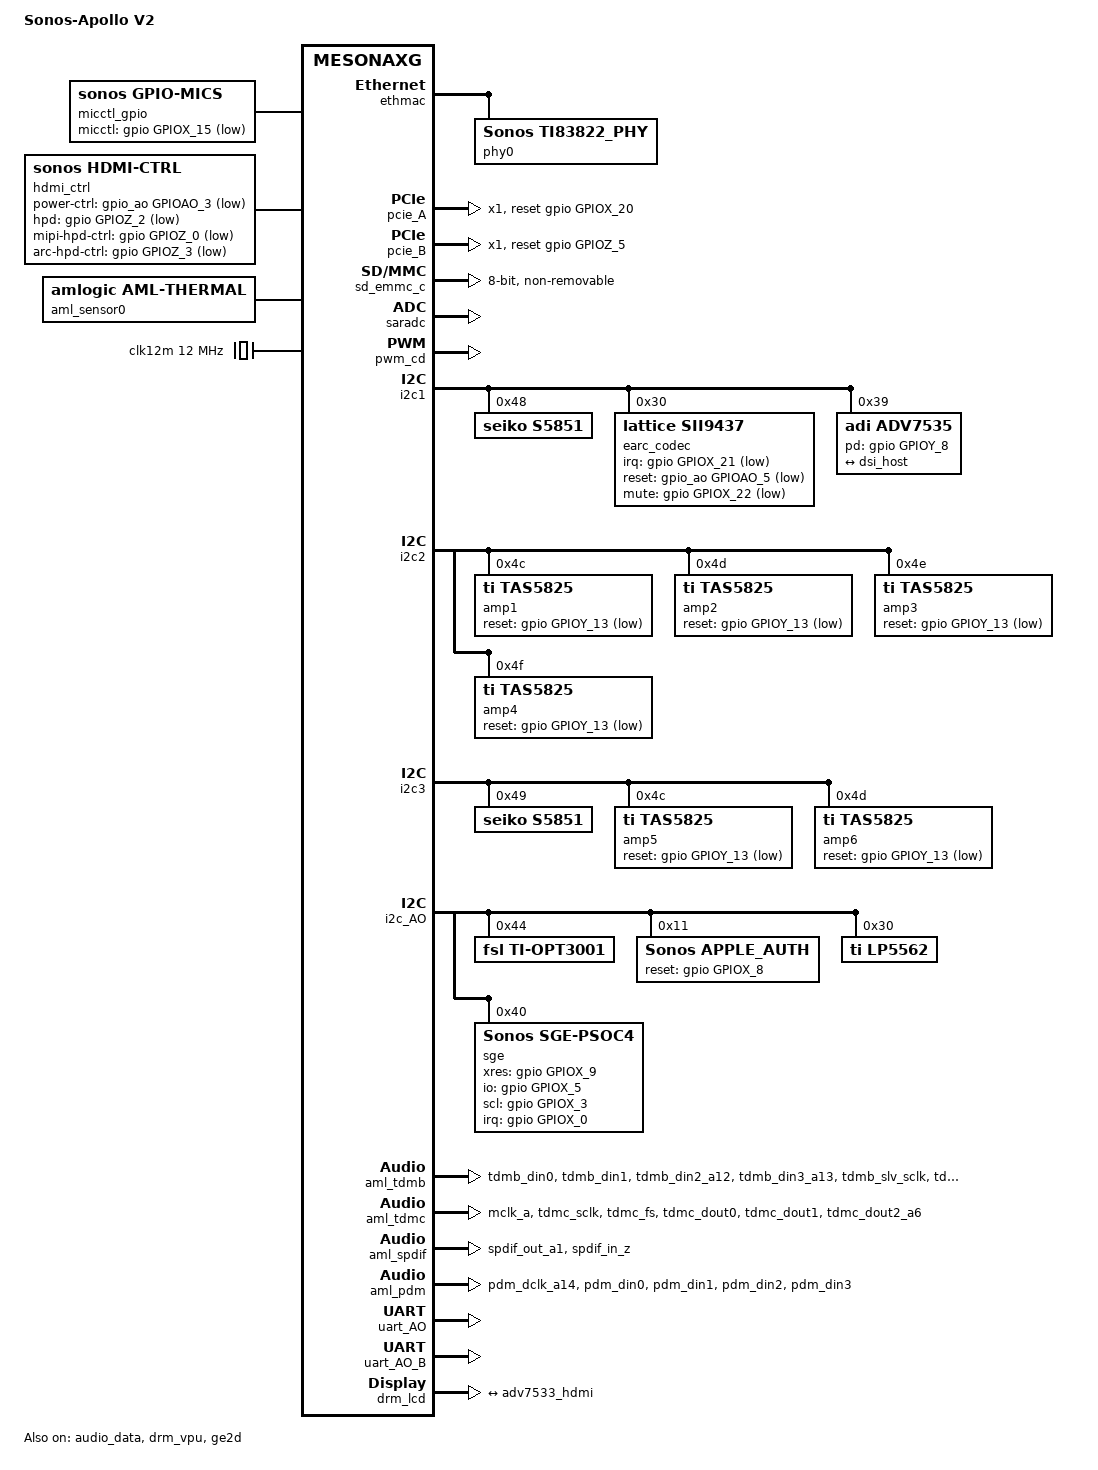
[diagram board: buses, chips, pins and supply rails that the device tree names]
/*
 * Copyright (c) 2018-2022, Sonos, Inc.
 *
 * SPDX-License-Identifier:     GPL-2.0
 */
/* Apollo HW versions
 *      V0 - apollo_v0.dts    - Apollo P0 P0.1 build
 *      V1 - apollo.dts       - Apollo P1 build
 *      V2 - apollo.dts       - Apollo P1b and P1c builds
 */
/dts-v1/;

#include "a113.dtsi"
#include "sonos_platform.dtsi"
#include "mesonaxg_ad7535-panel.dtsi"
#include "mesonaxg_drm.dtsi"

/ {
	model = "Sonos-Apollo V2";
	amlogic-dt-id = "axg_a113d_skt_v1";
	compatible = "amlogic, axg";
	interrupt-parent = <&gic>;
	#address-cells = <2>;
	#size-cells = <2>;

	sonos-product-id = <0x0f>;

	sonos-platform {
		/* Sonos platform specific values for shared driver source & binaries */
		sonos-ampctl { /* Apollo has one amp fault.  It has three control lines.  */
			status = "okay";
			hw-inits-index = <1>;
			hw-exits-index = <1>;
			using-i2c-amp;
			ignore-startup-faults;
			allow-auto-recovery;

			sonos-ampfaults {
				num-faults = <0x01>;
				status = "okay";

				ampfault@0 {
					fault-gpio = <&gpio GPIOY_12 GPIO_ACTIVE_LOW>;
					fault-flags = <IRQ_TYPE_EDGE_FALLING>;
					fault-label = "Amp fault";
				} ;
			} ;

		} ;

		misc-gpio {
			connect-button  = <&gpio GPIOX_2 GPIO_ACTIVE_LOW>;
		};

		simulated-buttons {
		/* event-sources are offsets from EVTSOURCE_BUTTON_PLAYPAUSE, some generate an event for more than one source */
			join {
				event-sources = <3>;
				};
		};

		thermal-mgmt {
			AMP {
				compatible = "seiko,s5851";
				fault-temperature = <105>;
				warn-temperature = <102>;
			};
			CPU {
				compatible = "seiko,s5851";
				fault-temperature = <90>;
				warn-temperature = <87>;
			};
		};
	} ;

	micctl_gpio:sonos-gpio-micctl {
		compatible = "sonos,gpio-mics";
		micctl-gpio = <&gpio GPIOX_15 GPIO_ACTIVE_LOW>;
	};

	micctl@1 {
		compatible = "sonos,micctl";
		micctl-device = <&micctl_gpio>;
	};

	sonos-lla {
		compatible = "sonos,alsa-lla";
		tx_mask = <0xdff>; // SWPBL-113873 buffer 9 is skipped
		rx_mask = <0x1d>;
		status = "okay";
	};

	ir_rcvr {
		compatible = "sonos,ir-rcvr";
		status = "okay";
	};

	hrtimer-a113 {
		compatible = "sonos,hrtimer-a113";
		status = "okay";
	};

	aliases {
		serial0 = &uart_AO;
		serial1 = &uart_AO_B;
		serial2 = &uart_B;
		serial3 = &uart_A;
		ethernet0 = &ethmac;
	};

	hdmi_ctrl {
		compatible = "sonos,hdmi-ctrl";
		power-ctrl-gpio = <&gpio_ao GPIOAO_3 GPIO_ACTIVE_LOW>;
		hpd-gpio = <&gpio GPIOZ_2 GPIO_ACTIVE_LOW>;
		mipi-hpd-ctrl-gpio = <&gpio GPIOZ_0 GPIO_ACTIVE_LOW>;
		arc-hpd-ctrl-gpio = <&gpio GPIOZ_3 GPIO_ACTIVE_LOW>;
		songle-adc-device = <0>;
		songle-adc-channel = <1>;
		/* Songle = 300mvolts */
		/* FIXME APOLLO - scale needs vetting */
		songle-adc-high = <187>;	/* 350mvolts x 1.875scale */
		songle-adc-low = <133>;		/* 250mvolts x 1.875scale */
		status = "okay";
	};

	memory@00000000 {
		device_type = "memory";
		linux,usable-memory = <0x0 0x100000 0x0 0x3ff00000>;
	};

	reserved-memory {
		#address-cells = <2>;
		#size-cells = <2>;
		ranges;
		/* global autoconfigured region for contiguous allocations */
		ramoops@0x07400000 {
			compatible = "ramoops";
			reg = <0x0 0x07400000 0x0 0x00100000>;
			record-size = <0x8000>;
			console-size = <0x10000>;
			ftrace-size = <0x2000>;
			pmsg-size = <0x4000>;
		};
		secmon_reserved:linux,secmon {
			compatible = "shared-dma-pool";
			reusable;
			size = <0x0 0x400000>;
			alignment = <0x0 0x400000>;
			alloc-ranges = <0x0 0x05000000 0x0 0x400000>;
		};
		secos_reserved:linux,secos {
			status = "disable";
			compatible = "amlogic, aml_secos_memory";
			reg = <0x0 0x05300000 0x0 0x2000000>;
			no-map;
		};
		ion_cma_reserved:linux,ion-dev {
			compatible = "shared-dma-pool";
			reusable;
			size = <0x0 0x8000000>;
			alignment = <0x0 0x400000>;
			alloc-ranges = <0x0 0x33c00000 0x0 0x8000000>;
		};
	};

	ethmac: ethernet@0xff3f0000 {
			compatible = "amlogic, gxbb-eth-dwmac";
			status = "okay";
			reg = <0x0 0xff3f0000 0x0 0x10000
			0x0 0xff634540 0x0 0x8>;
			interrupts = <0 8 1>;
			pinctrl-names = "external_eth_pins";
			pinctrl-0 = <&external_eth_pins>;
			mc_val_internal_phy = <0x1800>;
			mc_val_external_phy = <0x1404>;
			interrupt-names = "macirq";
			clocks = <&clkc CLKID_ETH_CORE>;
			clock-names = "ethclk81";
			internal_phy=<0>;

			phy0 {
				compatible = "Sonos,ti83822_phy";
				interrupts = <&gpio GPIOY_14 GPIO_ACTIVE_HIGH>;
			};

	};

	aml_sensor0: aml-sensor@0 {
		compatible = "amlogic, aml-thermal";
		device_name = "thermal";
		#thermal-sensor-cells = <1>;
		cooling_devices {
			cpufreq_cool_cluster0 {
				min_state = <1000000>;
				dyn_coeff = <140>;
				cluster_id = <0>;
				node_name = "cpufreq_cool0";
				device_type = "cpufreq";
			};
			cpucore_cool_cluster0 {
				min_state = <1>;
				dyn_coeff = <0>;
				cluster_id = <0>;
				node_name = "cpucore_cool0";
				device_type = "cpucore";
			};
		};
		cpufreq_cool0:cpufreq_cool0 {
			#cooling-cells = <2>; /* min followed by max */
		};
		cpucore_cool0:cpucore_cool0 {
			#cooling-cells = <2>; /* min followed by max */
		};
	};

	thermal-zones {
		soc_thermal {
			polling-delay = <1000>;
			polling-delay-passive = <100>;
			sustainable-power = <1050>;

			thermal-sensors = <&aml_sensor0 3>;

			trips {
				switch_on: trip-point@0 {
					temperature = <70000>;
					hysteresis = <1000>;
					type = "passive";
				};
				control: trip-point@1 {
					temperature = <80000>;
					hysteresis = <1000>;
					type = "passive";
				};
				hot: trip-point@2 {
					temperature = <105000>;
					hysteresis = <5000>;
					type = "hot";
				};
				critical: trip-point@3 {
					temperature = <260000>;
					hysteresis = <1000>;
					type = "critical";
				};
			};

			cooling-maps {
				cpufreq_cooling_map {
					trip = <&control>;
					cooling-device = <&cpufreq_cool0 0 4>;
					contribution = <1024>;
				};
				cpucore_cooling_map {
					trip = <&control>;
					cooling-device = <&cpucore_cool0 0 3>;
					contribution = <1024>;
				};
			};
		};
	};

	usb2_phy: usb2phy@ffe09000 {
		compatible = "amlogic, amlogic-new-usb2";
		status = "disabled";
		portnum = <4>;
		reg = <0x0 0xffe09000 0x0 0x80>;
	};
	usb3_phy: usb3phy@ffe09080 {
		compatible = "amlogic, amlogic-new-usb3";
		status = "disabled";
		portnum = <0>;
		reg = <0x0 0xffe09080 0x0 0x20>;
		interrupts = <0 16 4>;
		otg = <1>;
		gpio-vbus-power = "GPIOAO_5";
		gpios = <&gpio_ao GPIOAO_5 GPIO_ACTIVE_HIGH>;
	};

	dwc2_a {
		compatible = "amlogic, dwc2";
		device_name = "dwc2_a";
		reg = <0x0 0xff400000 0x0 0x40000>;
		status = "disabled";
		interrupts = <0 31 4>;
		pl-periph-id = <0>; /** lm name */
		clock-src = "usb0"; /** clock src */
		port-id = <0>;  /** ref to mach/usb.h */
		port-type = <2>;        /** 0: otg, 1: host, 2: slave */
		port-speed = <0>; /** 0: default, high, 1: full */
		port-config = <0>; /** 0: default */
		/*0:default,1:single,2:incr,3:incr4,4:incr8,5:incr16,6:disable*/
		port-dma = <0>;
		port-id-mode = <0>; /** 0: hardware, 1: sw_host, 2: sw_slave*/
		usb-fifo = <728>;
		cpu-type = "gxl";
		/** 0: normal, 1: otg+dwc3 host only, 2: otg+dwc3 device only*/
		controller-type = <3>;
		phy-reg = <0xffe09000>;
		phy-reg-size = <0xa0>;
		clocks = <&clkc CLKID_USB_GENERAL
			&clkc CLKID_USB1_TO_DDR
			&clkc CLKID_USB1>;
		clock-names = "usb_general",
			"usb1",
			"usb1_to_ddr";
	};

	pcie_A: pcieA@f9800000 {
		compatible = "amlogic, amlogic-pcie", "snps,dw-pcie";
		reg = <0x0 0xf9800000 0x0 0x400000
				0x0 0xff646000 0x0 0x2000
				0x0 0xf9f00000 0x0 0x100000
				0x0 PCIE_PHY_REG 0x0 PCIE_PHY_SIZE
				0x0 PCIE_RESET_REG 0x0 PCIE_RESET_SIZE>;
		reg-names = "elbi", "cfg", "config", "phy", "reset";
		reset-gpio = <&gpio GPIOX_20 GPIO_ACTIVE_HIGH>;
		interrupts = <0 177 0>, <0 179 0>;
		#interrupt-cells = <1>;
		bus-range = <0x0 0xff>;
		#address-cells = <3>;
		#size-cells = <2>;
		device_type = "pci";
		ranges = <0x82000000 0 0 0x0 0xf9c00000 0 0x00300000>;
			/* non-prefetchable memory */
		num-lanes = <1>;
		pcie-num = <1>;
		speed-mod = <1>; /* gen1 */

		clocks = <&clkc CLKID_USB_GENERAL
				&clkc CLKID_PCIE_PLL
				&clkc CLKID_MIPI_ENABLE_GATE
				&clkc CLKID_MIPI_BANDGAP_GATE
				&clkc CLKID_PCIE_A
				&clkc CLKID_PCIE_CML_EN0>;
		clock-names = "pcie_general",
				"pcie_refpll",
				"pcie_mipi_enable_gate",
				"pcie_mipi_bandgap_gate",
				"pcie",
				"port";
		/*reset-gpio-type 0:Shared pad(no reset)1:OD pad2:Normal pad*/
		gpio-type = <2>;
		status = "okay";
	};

	pcie_B: pcieB@fa000000 {
		compatible = "amlogic, amlogic-pcie", "snps,dw-pcie";
		reg = <0x0 0xfa000000 0x0 0x400000
				0x0 0xff648000 0x0 0x2000
				0x0 0xfa400000 0x0 0x100000
				0x0 PCIE_PHY_REG 0x0 PCIE_PHY_SIZE
				0x0 PCIE_RESET_REG 0x0 PCIE_RESET_SIZE>;
		reg-names = "elbi", "cfg", "config", "phy", "reset";
		reset-gpio = <&gpio GPIOZ_5 GPIO_ACTIVE_HIGH>;
		interrupts = <0 167 0>, <0 169 0>;
		#interrupt-cells = <1>;
		bus-range = <0x0 0xff>;
		#address-cells = <3>;
		#size-cells = <2>;
		device_type = "pci";
		ranges = <0x81000000 0 0 0 0xfa500000 0x0 0x10000
			/* downstream I/O */
			0x82000000 0 0xfa510000 0x0 0xfa510000 0 0x002f0000>;
			/* non-prefetchable memory */
		num-lanes = <1>;
		pcie-num = <2>;
		speed-mod = <1>; /* gen1 */

		clocks = <&clkc CLKID_USB_GENERAL
			&clkc CLKID_PCIE_PLL
			&clkc CLKID_MIPI_ENABLE_GATE
			&clkc CLKID_MIPI_BANDGAP_GATE
			&clkc CLKID_PCIE_B
			&clkc CLKID_PCIE_CML_EN1>;
		clock-names = "pcie_general",
			"pcie_refpll",
			"pcie_mipi_enable_gate",
			"pcie_mipi_bandgap_gate",
			"pcie",
			"port";
		/*reset-gpio-type 0:Shared pad(no reset)1:OD pad2:Normal pad*/
		gpio-type = <2>;
		status = "okay";
	};

	uart_A: serial@ffd24000 {
		compatible = "amlogic, meson-uart";
		reg = <0x0 0xffd24000 0x0 0x18>;
		interrupts = <0 26 1>;
		status = "disable";
		clocks = <&xtal
			&clkc CLKID_UART0>;
		clock-names = "clk_uart",
			"clk_gate";
		fifosize = < 128 >;
		pinctrl-names = "default";
		pinctrl-0 = <&a_uart_pins>;
	};

	uart_B: serial@ffd23000 {
		compatible = "amlogic, meson-uart";
		reg = <0x0 0xffd23000 0x0 0x18>;
		interrupts = <0 75 1>;
		status = "disable";
		clocks = <&xtal
			&clkc CLKID_UART1>;
		clock-names = "clk_uart",
			"clk_gate";
		fifosize = < 64 >;
		pinctrl-names = "default";
		pinctrl-0 = <&b_uart_pins>;
	};

	vpu {
		compatible = "amlogic, vpu-axg";
		dev_name = "vpu";
		status = "okay";
		clocks = <&clkc CLKID_VAPB_MUX>,
			<&clkc CLKID_VPU_INTR>,
			<&clkc CLKID_VPU_P0_COMP>,
			<&clkc CLKID_VPU_P1_COMP>,
			<&clkc CLKID_VPU_MUX>;
		clock-names = "vapb_clk",
			"vpu_intr_gate",
			"vpu_clk0",
			"vpu_clk1",
			"vpu_clk";
		clk_level = <3>;
		/* 0: 100.0M    1: 166.7M    2: 200.0M    3: 250.0M */
	};

	vout {
		compatible = "amlogic, vout";
		dev_name = "vout";
		status = "okay";
	};

	/* Audio Related start */
	/* Sound iomap */

	aml_snd_iomap {
		compatible = "amlogic, snd-iomap";
		status = "okay";
		#address-cells=<2>;
		#size-cells=<2>;
		ranges;
		pdm_bus {
			reg = <0x0 0xFF632000 0x0 0x2000>;
		};
		audiobus_base {
			reg = <0x0 0xFF642000 0x0 0x2000>;
		};
		audiolocker_base {
			reg = <0x0 0xFF64A000 0x0 0x2000>;
		};
	};
	pdm_codec:dummy{
		#sound-dai-cells = <0>;
		compatible = "amlogic, pdm_dummy_codec";
		status = "okay";
	};
	spdif_rx_codec:dummy{
		#sound-dai-cells = <0>;
		compatible = "linux,spdif-dir";
		status = "okay";
	};
	sonos_dummy_codec_dac: dac_dummy_codec {
		#sound-dai-cells = <0>;
		compatible = "Sonos,dummy-codec";
		stream-name = "0-dac";
		rate = <44100>; /* We use 44.1 KHz as the audio output rate */
		format = "S32_LE"; /* We use signed 24-bit little endian samples in a 32-bit word */
		channels = <12>; /* Number of playback channels on Apollo is 12 */
		status = "okay";
	};
	sonos_dummy_codec_pdm: pdm_dummy_codec {
		#sound-dai-cells = <0>;
		compatible = "Sonos,dummy-codec";
		stream-name = "1-mic";
		rate = <16000>; /* We use 16 KHz as the audio input rate. May be changed after consulting SMAV team */
		format = "S32_LE"; /* We use signed 24-bit little endian samples in 32-bit words */
		channels = <8>; /* Number of capture channels on Apollo is 8 */
		capture; /* Set the stream direction to capture. Note: Default without this boolean flag is playback */
		status = "okay";
	};

	auge_sound {
		compatible = "amlogic, axg-sound-card";
		aml-audio-card,name = "AML-AUGESOUND";
		aml-audio-card,dai-link@1 {
			format = "i2s";
			mclk-fs = <256>;
			continuous-clock;
			bitclock-master = <&tdmb_codec>;
			frame-master = <&tdmb_codec>;
			cpu {
				sound-dai = <&aml_tdmb>;
				dai-tdm-slot-rx-mask = <1 1>;
				dai-tdm-slot-num = <2>;
				dai-tdm-slot-width = <32>;
			};
			tdmb_codec: codec {
				prefix-names = "Sonos I2S in";
				sound-dai = <&earc_codec>;
			};
		};
		aml-audio-card,dai-link@2 {
			format = "dsp_b";
			mclk-fs = <256>;
			continuous-clock;
			bitclock-inversion;
			bitclock-master = <&aml_tdmc>;
			frame-master = <&aml_tdmc>;
			cpu {
				sound-dai = <&aml_tdmc>;
				dai-tdm-slot-tx-mask = <1 1 1 1>;
				dai-tdm-slot-num = <4>;
				dai-tdm-slot-width = <32>;
			};
			codec {
				prefix-names = "Sonos TDM out";
				sound-dai = <&sonos_dummy_codec_dac>;
			};
		};

		aml-audio-card,dai-link@3 {
			mclk-fs = <256>;
			cpu {
				sound-dai = <&aml_pdm>;
			};
			codec {
				prefix-names = "Sonos PDM in";
				sound-dai = <&sonos_dummy_codec_pdm>;
			};
		};

		aml-audio-card,dai-link@4 {
			mclk-fs = <128>;
			cpu {
				sound-dai = <&aml_spdif>;
				system-clock-frequency = <6144000>;
			};
			codec {
				sound-dai = <&spdif_rx_codec>;
			};
		};

		aml-audio-card,dai-link@5 {
			mclk-fs = <128>;
			cpu {
				sound-dai = <&aml_spdif>;
				system-clock-frequency = <6144000>;
			};
			codec {
				/* Select ADV7535 SPDIF port */
				sound-dai = <&adv7535 1>;
			};
		};
	};
	sd_emmc_c: emmc@ffe07000 {
		status = "okay";
		compatible = "amlogic, meson-mmc-axg";
		reg = <0x0 0xffe07000 0x0 0x2000>;
		interrupts = <0 218 1>;
		pinctrl-names = "emmc_clk_cmd_pins", "emmc_all_pins";
		pinctrl-0 = <&emmc_clk_cmd_pins>;
		pinctrl-1 = <&emmc_conf_pull_up &emmc_conf_pull_done>;
		clocks = <&clkc CLKID_SD_EMMC_C>,
			   <&clkc CLKID_SD_EMMC_C_P0_COMP>,
			   <&clkc CLKID_FCLK_DIV2>,
			   <&clkc CLKID_FCLK_DIV5>,
			   <&xtal>;
		clock-names = "core", "clkin0", "clkin1", "clkin2", "xtal";

		bus-width = <8>;
		cap-sd-highspeed;
		cap-mmc-highspeed;
		mmc-ddr-1_8v;
		mmc-hs200-1_8v;

		max-frequency = <200000000>;
		non-removable;
		disable-wp;
		emmc {
			status = "disable";
			pinname = "emmc";
			ocr_avail = <0x200080>; /**VDD voltage 3.3 ~ 3.4 */
			caps = "MMC_CAP_8_BIT_DATA",
				 "MMC_CAP_MMC_HIGHSPEED",
				 "MMC_CAP_SD_HIGHSPEED",
				 "MMC_CAP_NONREMOVABLE",
				 "MMC_CAP_1_8V_DDR",
				 "MMC_CAP_HW_RESET",
				 "MMC_CAP_ERASE",
				 "MMC_CAP_CMD23";
			f_min = <400000>;
			f_max = <200000000>;
			max_req_size = <0x20000>; /**128KB*/
			gpio_dat3 = <&gpio BOOT_3 GPIO_ACTIVE_HIGH>;
			tx_delay = <8>;
			hw_reset = <&gpio BOOT_9 GPIO_ACTIVE_HIGH>;
			card_type = <1>;
			/* 1:mmc card(include eMMC),
			 * 2:sd card(include tSD)
			 */
		};
	};

	ion_dev {
		compatible = "amlogic, ion_dev";
		memory-region = <&ion_cma_reserved>;
	};/*V end of ion_dev*/

	ionvideo {	/* Video capture device */
		compatible = "amlogic, ionvideo";
		dev_name = "ionvideo";
		status = "disabled";
	};

	meson-fb {
		compatible = "amlogic, meson-axg";
		status = "disabled";	/* Mutually exclusive with DRM support */
	};

	ge2d {
		compatible = "amlogic, ge2d-axg";
		dev_name = "ge2d";
		status = "okay";
		interrupts = <0 150 1>;
		interrupt-names = "ge2d";
		clocks = <&clkc CLKID_VAPB_MUX>,
			<&clkc CLKID_G2D>,
			<&clkc CLKID_GE2D_GATE>;
		clock-names = "clk_vapb_0",
			"clk_ge2d",
			"clk_ge2d_gate";
		reg = <0x0 0xff940000 0x0 0x10000>;
	};

	saradc:saradc {
		compatible = "amlogic,meson-axg-saradc";
		status = "okay";
		#io-channel-cells = <1>;
		clocks = <&xtal>, <&clkc CLKID_SARADC_GATE>;
		clock-names = "xtal", "saradc_clk";
		interrupts = <GIC_SPI 73 IRQ_TYPE_EDGE_RISING>;
		reg = <0x0 0xff809000 0x0 0x38>;
	};

	pwm_cd: pwm@ffd1a000 {
		status = "okay";
	};

	sonos_pwm_led {
		pinctrl-names = "default";
		pinctrl-0 = <&led_pwm_pins>;
		pwms = <&pwm_cd MESON_PWM_0 40000 0>;
		duty-cycle = <15020>;
	};

	clk12m: oscillator@0 {
		/* pin GPIOAO_12/CLK12_24 */
		compatible = "fixed-clock";
		#clock-cells = <0>;
		clock-frequency = <12000000>;
		clock-output-names = "clk12m";
	};

}; /* end of / */

&i2c1 {
	status = "okay";
	pinctrl-names="default";
	pinctrl-0=<&b_i2c_master_pin1>;

	s5851@0 {       // CPU thermal sensor
		compatible = "seiko,s5851";
		reg = <0x48>;
		device_type = "CPU";
	};
	earc_codec: sii9437@30 {       // eARC Rx chip
		compatible = "lattice,sii9437";
		#sound-dai-cells = <0>;
		reg = <0x30>;
		irq-gpio = <&gpio GPIOX_21 GPIO_ACTIVE_LOW>;
		reset-gpio = <&gpio_ao GPIOAO_5 GPIO_ACTIVE_LOW>;
		mute-gpio = <&gpio GPIOX_22 GPIO_ACTIVE_LOW>;
		status = "okay";
	};
	adv7535: adv7535@39 {	// HDMI-DSI bridge chip
		status = "okay";
		compatible = "adi,adv7535";
		reg = <0x39>;

		interrupt-parent = <&gpio_intc>;
		interrupts = <91 IRQ_TYPE_EDGE_FALLING>;	/* GPIOY_7 */

		clocks = <&clk12m>;
		clock-names = "cec";

		adi,dsi-lanes = <4>;

		pd-gpios = <&gpio GPIOY_8 GPIO_ACTIVE_HIGH>;

		/* ADV7535 has both an I2S (port 0) and SPDIF (port 1) input */
		#sound-dai-cells = <1>;

		ports {
			port {
				#address-cells = <1>;
				#size-cells = <0>;

				adv7533_hdmi: endpoint@0 {
					reg = <0>;
					remote-endpoint = <&dsi_host>;
				};
			};

		};
	};
};

&i2c2 {
	status = "okay";
	pinctrl-names="default";
	pinctrl-0=<&c_i2c_master>;

	amp1: tas5825@4c { // tweeter + woofer
		compatible = "ti,tas5825";
		reg = <0x4c>;
		dev-id = <0x1>;
		first-amp-devid = <1>;
		play-to-sleep-delay = <5>;
		post-reset-delay = <10>;
		sleep-to-play-delay = <5>;
		apollo-mode-shutdown;
		shared-reset;
		mask-clock-faults;
		reset-gpio = <&gpio GPIOY_13 GPIO_ACTIVE_LOW>;
		stage-delay = <5>;
		number-init-stages = <2>;
		init-sequence-length1 = <1>;
		reg-init1 = <0x6a 0x03>;
		init-sequence-length2 = <150>;
		reg-init2 = < 0x00 0x00 0x7f 0x00 0x03 0x00 0x03 0x02 0x03 0x00 0x03 0x02
			0x00 0x00 0x7f 0x00 0x60 0x01 0x61 0x0b
			0x00 0x00 0x7f 0x00 0x7d 0x11 0x7e 0xff 0x00 0x01 0x51 0x05 0x00 0x02 0x19 0xa0 0x1d 0x01
			0x00 0x00 0x7f 0x00 0x46 0x01 0x00 0x00 0x60 0x01 0x61 0x0b 0x7f 0x00 0x00 0x00 0x00 0x00 0x00 0x00
			0x00 0x00 0x7f 0x8c 0x00 0x06 0x38 0x00 0x39 0x00 0x3a 0x04 0x3b 0x00 0x00 0x0b 0x50 0x00 0x51 0x20 0x52 0xc4
			0x53 0x9c 0x5c 0x7f 0x5d 0xff 0x5e 0xff 0x5f 0xff
			0x00 0x00 0x7f 0x8c 0x00 0x01 0x28 0x40 0x29 0x00 0x2a 0x00 0x2b 0x00 0x00 0x0a 0x64 0x00 0x65 0x80 0x66 0x00
		       	0x67 0x00 0x68 0x00 0x69 0x00 0x6a 0x00 0x6b 0x00 0x6c 0x00 0x6d 0x00 0x6e 0x00 0x6f 0x00 0x70 0x00 0x71 0x80
		       	0x72 0x00 0x73 0x00 0x74 0x00 0x75 0x80 0x76 0x00 0x77 0x00 0x78 0x00 0x79 0x00 0x7a 0x00 0x7b 0x00 0x7c 0x00
		       	0x7d 0x00 0x7e 0x00 0x7f 0x00 0x00 0x0b 0x08 0x00 0x09 0x80 0x0a 0x00 0x0b 0x00 0x38 0x22 0x39 0x94 0x3a 0xDC
		       	0x3b 0xBB 0x3c 0x22 0x3d 0x94 0x3e 0xDC 0x3f 0xBB 0x48 0x05 0x49 0x91 0x4a 0x06 0x4b 0x12 0x4c 0x00 0x4d 0x03
		       	0x4e 0xB7 0x4f 0x17 0x54 0x7a 0x55 0x6E 0x56 0xF9 0x57 0xEE 0x58 0x00 0x59 0x00 0x5a 0x5F 0x5b 0x1C 0x60 0x08
		       	0x61 0x13 0x62 0x85 0x63 0x62 0x64 0x00 0x65 0x80 0x66 0x00 0x67 0x00 0x6c 0x00 0x6d 0x78 0x6e 0xd6 0x6f 0xfd
		       	0x70 0x00 0x71 0x08 0x72 0x13 0x73 0x85 0x00 0x00 0x7f 0x00 0x30 0x00 0x4c 0x30 0x02 0x02 0x03 0x0a 0x28 0x78
		       	0x33 0x17 0x34 0x00 0x50 0x00 0x53 0x00 0x54 0x04 0x5F 0x1E 0x3A 0xF8 0x6B 0x00 0x6C 0x00 0x75 0x38 0x77 0x00
		       	0x29 0x00
			0x00 0x00 0x7f 0x00 0x78 0x80 0x03 0x00 >;
		status = "okay";
	};
	amp2: tas5825@4d { // woofer
		compatible = "ti,tas5825";
		reg = <0x4d>;
		dev-id = <0x2>;
		first-amp-devid = <1>;
		play-to-sleep-delay = <5>;
		post-reset-delay = <10>;
		sleep-to-play-delay = <5>;
		apollo-mode-shutdown;
		shared-reset;
		mask-clock-faults;
		reset-gpio = <&gpio GPIOY_13 GPIO_ACTIVE_LOW>;
		stage-delay = <5>;
		number-init-stages = <2>;
		init-sequence-length1 = <1>;
		reg-init1 = <0x6a 0x07>;
		init-sequence-length2 = <150>;
		reg-init2 = < 0x00 0x00 0x7f 0x00 0x03 0x00 0x03 0x02 0x03 0x00 0x03 0x02
			0x00 0x00 0x7f 0x00 0x60 0x01 0x61 0x0b
			0x00 0x00 0x7f 0x00 0x7d 0x11 0x7e 0xff 0x00 0x01 0x51 0x05 0x00 0x02 0x19 0xa0 0x1d 0x01
			0x00 0x00 0x7f 0x00 0x46 0x01 0x00 0x00 0x60 0x01 0x61 0x0b 0x7f 0x00 0x00 0x00 0x00 0x00 0x00 0x00
			0x00 0x00 0x7f 0x8c 0x00 0x06 0x38 0x00 0x39 0x00 0x3a 0x04 0x3b 0x00 0x00 0x0b 0x50 0x00 0x51 0x20 0x52 0xc4
			0x53 0x9c 0x5c 0x7f 0x5d 0xff 0x5e 0xff 0x5f 0xff
			0x00 0x00 0x7f 0x8c 0x00 0x01 0x28 0x40 0x29 0x00 0x2a 0x00 0x2b 0x00 0x00 0x0a 0x64 0x00 0x65 0x80 0x66 0x00
		       	0x67 0x00 0x68 0x00 0x69 0x00 0x6a 0x00 0x6b 0x00 0x6c 0x00 0x6d 0x00 0x6e 0x00 0x6f 0x00 0x70 0x00 0x71 0x80
		       	0x72 0x00 0x73 0x00 0x74 0x00 0x75 0x80 0x76 0x00 0x77 0x00 0x78 0x00 0x79 0x00 0x7a 0x00 0x7b 0x00 0x7c 0x00
		       	0x7d 0x00 0x7e 0x00 0x7f 0x00 0x00 0x0b 0x08 0x00 0x09 0x80 0x0a 0x00 0x0b 0x00 0x38 0x22 0x39 0x94 0x3a 0xDC
		       	0x3b 0xBB 0x3c 0x22 0x3d 0x94 0x3e 0xDC 0x3f 0xBB 0x48 0x05 0x49 0x91 0x4a 0x06 0x4b 0x12 0x4c 0x00 0x4d 0x03
		       	0x4e 0xB7 0x4f 0x17 0x54 0x7a 0x55 0x6E 0x56 0xF9 0x57 0xEE 0x58 0x00 0x59 0x00 0x5a 0x5F 0x5b 0x1C 0x60 0x08
		       	0x61 0x13 0x62 0x85 0x63 0x62 0x64 0x00 0x65 0x80 0x66 0x00 0x67 0x00 0x6c 0x00 0x6d 0x78 0x6e 0xd6 0x6f 0xfd
		       	0x70 0x00 0x71 0x08 0x72 0x13 0x73 0x85 0x00 0x00 0x7f 0x00 0x30 0x00 0x4c 0x30 0x02 0x02 0x03 0x0a 0x28 0x78
		       	0x33 0x17 0x34 0x40 0x50 0x00 0x53 0x00 0x54 0x04 0x5F 0x1E 0x3A 0xF8 0x6B 0x00 0x6C 0x00 0x75 0x38 0x77 0x00
		       	0x29 0x00
			0x00 0x00 0x7f 0x00 0x78 0x80 0x03 0x00 >;
		status = "okay";
	};
	amp3: tas5825@4e {
		compatible = "ti,tas5825";
		reg = <0x4e>;
		dev-id = <0x3>;
		first-amp-devid = <1>;
		play-to-sleep-delay = <5>;
		post-reset-delay = <10>;
		sleep-to-play-delay = <5>;
		apollo-mode-shutdown;
		shared-reset;
		mask-clock-faults;
		reset-gpio = <&gpio GPIOY_13 GPIO_ACTIVE_LOW>;
		stage-delay = <5>;
		number-init-stages = <2>;
		init-sequence-length1 = <1>;
		reg-init1 = <0x6a 0x0b>;
		init-sequence-length2 = <150>;
		reg-init2 = < 0x00 0x00 0x7f 0x00 0x03 0x00 0x03 0x02 0x03 0x00 0x03 0x02
			0x00 0x00 0x7f 0x00 0x60 0x01 0x61 0x0b
			0x00 0x00 0x7f 0x00 0x7d 0x11 0x7e 0xff 0x00 0x01 0x51 0x05 0x00 0x02 0x19 0xa0 0x1d 0x01
			0x00 0x00 0x7f 0x00 0x46 0x01 0x00 0x00 0x60 0x01 0x61 0x0b 0x7f 0x00 0x00 0x00 0x00 0x00 0x00 0x00
			0x00 0x00 0x7f 0x8c 0x00 0x06 0x38 0x00 0x39 0x00 0x3a 0x04 0x3b 0x00 0x00 0x0b 0x50 0x00 0x51 0x20 0x52 0xc4
			0x53 0x9c 0x5c 0x7f 0x5d 0xff 0x5e 0xff 0x5f 0xff
			0x00 0x00 0x7f 0x8c 0x00 0x01 0x28 0x40 0x29 0x00 0x2a 0x00 0x2b 0x00 0x00 0x0a 0x64 0x00 0x65 0x80 0x66 0x00
		       	0x67 0x00 0x68 0x00 0x69 0x00 0x6a 0x00 0x6b 0x00 0x6c 0x00 0x6d 0x00 0x6e 0x00 0x6f 0x00 0x70 0x00 0x71 0x80
		       	0x72 0x00 0x73 0x00 0x74 0x00 0x75 0x80 0x76 0x00 0x77 0x00 0x78 0x00 0x79 0x00 0x7a 0x00 0x7b 0x00 0x7c 0x00
		       	0x7d 0x00 0x7e 0x00 0x7f 0x00 0x00 0x0b 0x08 0x00 0x09 0x80 0x0a 0x00 0x0b 0x00 0x38 0x22 0x39 0x94 0x3a 0xDC
		       	0x3b 0xBB 0x3c 0x22 0x3d 0x94 0x3e 0xDC 0x3f 0xBB 0x48 0x05 0x49 0x91 0x4a 0x06 0x4b 0x12 0x4c 0x00 0x4d 0x03
		       	0x4e 0xB7 0x4f 0x17 0x54 0x7a 0x55 0x6E 0x56 0xF9 0x57 0xEE 0x58 0x00 0x59 0x00 0x5a 0x5F 0x5b 0x1C 0x60 0x08
		       	0x61 0x13 0x62 0x85 0x63 0x62 0x64 0x00 0x65 0x80 0x66 0x00 0x67 0x00 0x6c 0x00 0x6d 0x78 0x6e 0xd6 0x6f 0xfd
		       	0x70 0x00 0x71 0x08 0x72 0x13 0x73 0x85 0x00 0x00 0x7f 0x00 0x30 0x00 0x4c 0x30 0x02 0x02 0x03 0x0a 0x28 0x78
		       	0x33 0x17 0x34 0x00 0x50 0x00 0x53 0x00 0x54 0x04 0x5F 0x1E 0x3A 0xF8 0x6B 0x00 0x6C 0x00 0x75 0x38 0x77 0x00
		       	0x29 0x00
			0x00 0x00 0x7f 0x00 0x78 0x80 0x03 0x00 >;
		status = "okay";
	};
	amp4: tas5825@4f {
		compatible = "ti,tas5825";
		reg = <0x4f>;
		dev-id = <0x4>;
		first-amp-devid = <1>;
		play-to-sleep-delay = <5>;
		post-reset-delay = <10>;
		sleep-to-play-delay = <5>;
		apollo-mode-shutdown;
		shared-reset;
		mask-clock-faults;
		reset-gpio = <&gpio GPIOY_13 GPIO_ACTIVE_LOW>;
		stage-delay = <5>;
		number-init-stages = <2>;
		init-sequence-length1 = <1>;
		reg-init1 = <0x6a 0x0f>;
		init-sequence-length2 = <150>;
		reg-init2 = < 0x00 0x00 0x7f 0x00 0x03 0x00 0x03 0x02 0x03 0x00 0x03 0x02
			0x00 0x00 0x7f 0x00 0x60 0x01 0x61 0x0b
			0x00 0x00 0x7f 0x00 0x7d 0x11 0x7e 0xff 0x00 0x01 0x51 0x05 0x00 0x02 0x19 0xa0 0x1d 0x01
			0x00 0x00 0x7f 0x00 0x46 0x01 0x00 0x00 0x60 0x01 0x61 0x0b 0x7f 0x00 0x00 0x00 0x00 0x00 0x00 0x00
			0x00 0x00 0x7f 0x8c 0x00 0x06 0x38 0x00 0x39 0x00 0x3a 0x04 0x3b 0x00 0x00 0x0b 0x50 0x00 0x51 0x20 0x52 0xc4
			0x53 0x9c 0x5c 0x7f 0x5d 0xff 0x5e 0xff 0x5f 0xff
			0x00 0x00 0x7f 0x8c 0x00 0x01 0x28 0x40 0x29 0x00 0x2a 0x00 0x2b 0x00 0x00 0x0a 0x64 0x00 0x65 0x80 0x66 0x00
		       	0x67 0x00 0x68 0x00 0x69 0x00 0x6a 0x00 0x6b 0x00 0x6c 0x00 0x6d 0x00 0x6e 0x00 0x6f 0x00 0x70 0x00 0x71 0x80
		       	0x72 0x00 0x73 0x00 0x74 0x00 0x75 0x80 0x76 0x00 0x77 0x00 0x78 0x00 0x79 0x00 0x7a 0x00 0x7b 0x00 0x7c 0x00
		       	0x7d 0x00 0x7e 0x00 0x7f 0x00 0x00 0x0b 0x08 0x00 0x09 0x80 0x0a 0x00 0x0b 0x00 0x38 0x22 0x39 0x94 0x3a 0xDC
		       	0x3b 0xBB 0x3c 0x22 0x3d 0x94 0x3e 0xDC 0x3f 0xBB 0x48 0x05 0x49 0x91 0x4a 0x06 0x4b 0x12 0x4c 0x00 0x4d 0x03
		       	0x4e 0xB7 0x4f 0x17 0x54 0x7a 0x55 0x6E 0x56 0xF9 0x57 0xEE 0x58 0x00 0x59 0x00 0x5a 0x5F 0x5b 0x1C 0x60 0x08
		       	0x61 0x13 0x62 0x85 0x63 0x62 0x64 0x00 0x65 0x80 0x66 0x00 0x67 0x00 0x6c 0x00 0x6d 0x78 0x6e 0xd6 0x6f 0xfd
		       	0x70 0x00 0x71 0x08 0x72 0x13 0x73 0x85 0x00 0x00 0x7f 0x00 0x30 0x00 0x4c 0x30 0x02 0x02 0x03 0x0a 0x28 0x78
		       	0x33 0x17 0x34 0x40 0x50 0x00 0x53 0x00 0x54 0x04 0x5F 0x1E 0x3A 0xF8 0x6B 0x00 0x6C 0x00 0x75 0x38 0x77 0x00
		       	0x29 0x00
			0x00 0x00 0x7f 0x00 0x78 0x80 0x03 0x00 >;
		status = "okay";
	};

};

&i2c3 {
	status = "okay";
	pinctrl-names="default";
	pinctrl-0=<&d_i2c_master_pin2>;

	s5851@1 {       // Amp thermal sensor
		compatible = "seiko,s5851";
		reg = <0x49>;
		device_type = "AMP";
	};

	amp5: tas5825@4c { // tweeter + woofer
		compatible = "ti,tas5825";
		reg = <0x4c>;
		dev-id = <0x5>;
		first-amp-devid = <1>;
		play-to-sleep-delay = <5>;
		post-reset-delay = <10>;
		sleep-to-play-delay = <5>;
		apollo-mode-shutdown;
		shared-reset;
		mask-clock-faults;
		reset-gpio = <&gpio GPIOY_13 GPIO_ACTIVE_LOW>;
		stage-delay = <5>;
		number-init-stages = <2>;
		init-sequence-length1 = <1>;
		reg-init1 = <0x6a 0x03>;
		init-sequence-length2 = <150>;
		reg-init2 = < 0x00 0x00 0x7f 0x00 0x03 0x00 0x03 0x02 0x03 0x00 0x03 0x02
			0x00 0x00 0x7f 0x00 0x60 0x01 0x61 0x0b
			0x00 0x00 0x7f 0x00 0x7d 0x11 0x7e 0xff 0x00 0x01 0x51 0x05 0x00 0x02 0x19 0xa0 0x1d 0x01
			0x00 0x00 0x7f 0x00 0x46 0x01 0x00 0x00 0x60 0x01 0x61 0x0b 0x7f 0x00 0x00 0x00 0x00 0x00 0x00 0x00
			0x00 0x00 0x7f 0x8c 0x00 0x06 0x38 0x00 0x39 0x00 0x3a 0x04 0x3b 0x00 0x00 0x0b 0x50 0x00 0x51 0x20 0x52 0xc4
			0x53 0x9c 0x5c 0x7f 0x5d 0xff 0x5e 0xff 0x5f 0xff
			0x00 0x00 0x7f 0x8c 0x00 0x01 0x28 0x40 0x29 0x00 0x2a 0x00 0x2b 0x00 0x00 0x0a 0x64 0x00 0x65 0x80 0x66 0x00
		       	0x67 0x00 0x68 0x00 0x69 0x00 0x6a 0x00 0x6b 0x00 0x6c 0x00 0x6d 0x00 0x6e 0x00 0x6f 0x00 0x70 0x00 0x71 0x80
		       	0x72 0x00 0x73 0x00 0x74 0x00 0x75 0x80 0x76 0x00 0x77 0x00 0x78 0x00 0x79 0x00 0x7a 0x00 0x7b 0x00 0x7c 0x00
		       	0x7d 0x00 0x7e 0x00 0x7f 0x00 0x00 0x0b 0x08 0x00 0x09 0x80 0x0a 0x00 0x0b 0x00 0x38 0x22 0x39 0x94 0x3a 0xDC
		       	0x3b 0xBB 0x3c 0x22 0x3d 0x94 0x3e 0xDC 0x3f 0xBB 0x48 0x05 0x49 0x91 0x4a 0x06 0x4b 0x12 0x4c 0x00 0x4d 0x03
		       	0x4e 0xB7 0x4f 0x17 0x54 0x7a 0x55 0x6E 0x56 0xF9 0x57 0xEE 0x58 0x00 0x59 0x00 0x5a 0x5F 0x5b 0x1C 0x60 0x08
		       	0x61 0x13 0x62 0x85 0x63 0x62 0x64 0x00 0x65 0x80 0x66 0x00 0x67 0x00 0x6c 0x00 0x6d 0x78 0x6e 0xd6 0x6f 0xfd
		       	0x70 0x00 0x71 0x08 0x72 0x13 0x73 0x85 0x00 0x00 0x7f 0x00 0x30 0x00 0x4c 0x30 0x02 0x02 0x03 0x0a 0x28 0x78
		       	0x33 0x17 0x34 0x00 0x50 0x00 0x53 0x00 0x54 0x04 0x5F 0x1E 0x3A 0xF8 0x6B 0x00 0x6C 0x00 0x75 0x38 0x77 0x00
		       	0x29 0x00
			0x00 0x00 0x7f 0x00 0x78 0x80 0x03 0x00 >;
		status = "okay";
	};
	amp6: tas5825@4d { // woofer
		compatible = "ti,tas5825";
		reg = <0x4d>;
		dev-id = <0x6>;
		first-amp-devid = <1>;
		play-to-sleep-delay = <5>;
		post-reset-delay = <10>;
		sleep-to-play-delay = <5>;
		apollo-mode-shutdown;
		shared-reset;
		mask-clock-faults;
		reset-gpio = <&gpio GPIOY_13 GPIO_ACTIVE_LOW>;
		stage-delay = <5>;
		number-init-stages = <2>;
		init-sequence-length1 = <1>;
		reg-init1 = <0x6a 0x07>;
		init-sequence-length2 = <150>;
		reg-init2 = < 0x00 0x00 0x7f 0x00 0x03 0x00 0x03 0x02 0x03 0x00 0x03 0x02
			0x00 0x00 0x7f 0x00 0x60 0x01 0x61 0x0b
			0x00 0x00 0x7f 0x00 0x7d 0x11 0x7e 0xff 0x00 0x01 0x51 0x05 0x00 0x02 0x19 0xa0 0x1d 0x01
			0x00 0x00 0x7f 0x00 0x46 0x01 0x00 0x00 0x60 0x01 0x61 0x0b 0x7f 0x00 0x00 0x00 0x00 0x00 0x00 0x00
			0x00 0x00 0x7f 0x8c 0x00 0x06 0x38 0x00 0x39 0x00 0x3a 0x04 0x3b 0x00 0x00 0x0b 0x50 0x00 0x51 0x20 0x52 0xc4
			0x53 0x9c 0x5c 0x7f 0x5d 0xff 0x5e 0xff 0x5f 0xff
			0x00 0x00 0x7f 0x8c 0x00 0x01 0x28 0x40 0x29 0x00 0x2a 0x00 0x2b 0x00 0x00 0x0a 0x64 0x00 0x65 0x80 0x66 0x00
		       	0x67 0x00 0x68 0x00 0x69 0x00 0x6a 0x00 0x6b 0x00 0x6c 0x00 0x6d 0x00 0x6e 0x00 0x6f 0x00 0x70 0x00 0x71 0x80
		       	0x72 0x00 0x73 0x00 0x74 0x00 0x75 0x80 0x76 0x00 0x77 0x00 0x78 0x00 0x79 0x00 0x7a 0x00 0x7b 0x00 0x7c 0x00
		       	0x7d 0x00 0x7e 0x00 0x7f 0x00 0x00 0x0b 0x08 0x00 0x09 0x80 0x0a 0x00 0x0b 0x00 0x38 0x22 0x39 0x94 0x3a 0xDC
		       	0x3b 0xBB 0x3c 0x22 0x3d 0x94 0x3e 0xDC 0x3f 0xBB 0x48 0x05 0x49 0x91 0x4a 0x06 0x4b 0x12 0x4c 0x00 0x4d 0x03
		       	0x4e 0xB7 0x4f 0x17 0x54 0x7a 0x55 0x6E 0x56 0xF9 0x57 0xEE 0x58 0x00 0x59 0x00 0x5a 0x5F 0x5b 0x1C 0x60 0x08
		       	0x61 0x13 0x62 0x85 0x63 0x62 0x64 0x00 0x65 0x80 0x66 0x00 0x67 0x00 0x6c 0x00 0x6d 0x78 0x6e 0xd6 0x6f 0xfd
		       	0x70 0x00 0x71 0x08 0x72 0x13 0x73 0x85 0x00 0x00 0x7f 0x00 0x30 0x00 0x4c 0x30 0x02 0x02 0x03 0x0a 0x28 0x78
		       	0x33 0x17 0x34 0x40 0x50 0x00 0x53 0x00 0x54 0x04 0x5F 0x1E 0x3A 0xF8 0x6B 0x00 0x6C 0x00 0x75 0x38 0x77 0x00
		       	0x29 0x00
			0x00 0x00 0x7f 0x00 0x78 0x80 0x03 0x00 >;
		status = "okay";
	};
};

/* for mic board */
&i2c_AO {
	status = "okay";
	pinctrl-names="default";
	pinctrl-0=<&ao_i2c_master_pin2>;

	ti-opt3001@44 {       // TI OPT3001 Lux Meter
		compatible = "fsl,ti-opt3001";
		reg = <0x44>;
	};

	apple_auth@0 {
		compatible = "Sonos,apple_auth";
		reg = <0x11>;
		reset-gpio = <&gpio GPIOX_8 GPIO_ACTIVE_HIGH>;
	};

	lp5562@0 {      // LED controller
		compatible = "ti,lp5562";
		reg = <0x30>;
	};

	sge@0 {  // Sigdetail Gesture Engine
		compatible = "Sonos,sge-psoc4";
		pinctrl-names = "mode-uart-hiz", "mode-flow-ctrl";
		pinctrl-0 = <>;
		pinctrl-1 = <&ao_b_uart_pins>;
		reg = <0x40>;
		gpio-addr = <0xff634400 0x130 0x4c 0x0 0x50 0x4c 0x0 0x50>;
		gpio-params = "base-addr", "len", "io-set", "io-clr", "io-din", "scl-set", "scl-clr", "scl-din";
		scl-bitmask =  <0x000008>;
		io-bitmask  =  <0x000020>;
		xres-gpio = <&gpio GPIOX_9 GPIO_ACTIVE_HIGH>;
		// Note: The values for IO and SCL are overridden by sdd-a113.c
		io-gpio   = <&gpio GPIOX_5 GPIO_ACTIVE_HIGH>;
		scl-gpio  = <&gpio GPIOX_3 GPIO_ACTIVE_HIGH>;
		irq-gpio  = <&gpio GPIOX_0 GPIO_ACTIVE_HIGH>;
		zonea = "vol1";
		zoneb = "pp";
		zonec = "vol2";
		zonem = "mic";
		finger-threshold = <50>;
		noise-threshold = <30>;
		hysteresis = <4>;
		share-swd-uart = <0>;
		psoc-rtc = <0>;
		status = "okay";

		psoc-images {
			image@0 {
				model-num = <4247>;
				ident = <0xa1>;
				flash-rows = <1024>;
				flash-row-size = <128>;
				flash-protection-size = <128>;
			};
			image@1 {
				model-num = <4247>;
				ident = <0xa2>;
				flash-rows = <1024>;
				flash-row-size = <128>;
				flash-protection-size = <128>;
			};
		};
	};
};

&audiobus {

	aml_tdmb: tdmb {
		compatible = "amlogic, axg-snd-tdmb";
		#sound-dai-cells = <0>;
		dai-tdm-lane-slot-mask-in = <1 1 1 1>;
		dai-tdm-clk-sel = <1>;
		clocks = <&clkaudio CLKID_AUDIO_MCLK_B
				&clkc CLKID_MPLL1>;
		clock-names = "mclk", "clk_srcpll";
		pinctrl-names = "tdm_pins";
		pinctrl-0 = <&tdmin_b>;
	};

	aml_tdmc: tdmc {
		compatible = "amlogic, axg-snd-tdmc";
		#sound-dai-cells = <0>;
		dai-tdm-lane-slot-mask-out = <1 1 1 0>;
		dai-tdm-clk-sel = <2>;
		clocks = <&clkaudio CLKID_AUDIO_MCLK_C
				&clkc CLKID_MPLL2>;
		clock-names = "mclk", "clk_srcpll";
		pinctrl-names = "tdm_pins";
		pinctrl-0 = <&tdmc_mclk &tdmout_c>;
	};

	aml_spdif: spdif {
		compatible = "amlogic, axg-snd-spdif";
		#sound-dai-cells = <0>;
		clocks = <&clkc CLKID_MPLL0
				&clkc CLKID_FCLK_DIV4
				&clkaudio CLKID_AUDIO_SPDIFIN
				&clkaudio CLKID_AUDIO_SPDIFOUT
				&clkaudio CLKID_AUDIO_SPDIFIN_CTRL
				&clkaudio CLKID_AUDIO_SPDIFOUT_CTRL>;
		clock-names = "sysclk", "fixed_clk", "gate_spdifin",
				"gate_spdifout", "clk_spdifin", "clk_spdifout";
		interrupts =
				<GIC_SPI 87 IRQ_TYPE_EDGE_RISING>;

		interrupt-names = "irq_spdifin";
		pinctrl-names = "spdif_pins";
		pinctrl-0 = <&spdifout &spdifin>;

		/*
		 * whether do asrc for pcm.
		 * if raw data, asrc is disabled automatically
		 * 0: "Disable",
		 * 1: "Enable:32K",
		 * 2: "Enable:44K",
		 * 3: "Enable:48K",
		 * 4: "Enable:88K",
		 * 5: "Enable:96K",
		 * 6: "Enable:176K",
		 * 7: "Enable:192K",
		 */
		auto_asrc = <0>;
		status = "okay";
	};

	aml_pdm: pdm {
		compatible = "amlogic, axg-snd-pdm";
		#sound-dai-cells = <0>;
		clocks = <&clkaudio CLKID_AUDIO_PDM
			&clkc CLKID_FCLK_DIV3
			&clkc CLKID_MPLL3
			&clkaudio CLKID_AUDIO_PDMIN0
			&clkaudio CLKID_AUDIO_PDMIN1>;
		clock-names = "gate",
			"sysclk_srcpll",
			"dclk_srcpll",
			"pdm_dclk",
			"pdm_sysclk";
		pinctrl-names = "pdm_pins";
		pinctrl-0 = <&pdmin>;
		filter_mode = <1>; /* mode 0~4, defalut:1 */
		status = "okay";
	};
}; /* end of audiobus */

&pinctrl_periphs {
	tdmout_a: tdmout_a {
		mux {
			groups = "tdma_sclk",
				"tdma_fs";
			function = "tdma_out";
		};
	};

	tdmout_a_data: tdmout_a_data {
		mux {
			groups = "tdma_dout1_x15";
			function = "tdma_out";
		};
	};

	tdmin_a: tdmin_a {
		mux {
			groups = "tdma_din0";
			function = "tdma_in";
		};
	};

	tdmb_mclk: tdmb_mclk {
		mux {
			groups = "mclk_b";
			function = "mclk_b";
		};
	};

	tdmout_b: tdmout_b {
		mux {
			groups = "tdmb_sclk",
				"tdmb_fs";
			function = "tdmb_out";
		};
	};

	tdmin_b:tdmin_b {
		mux {
			groups = "tdmb_din0",
				"tdmb_din1",
				"tdmb_din2_a12",
				"tdmb_din3_a13",
				"tdmb_slv_sclk",
				"tdmb_slv_fs";
			function = "tdmb_in";
		};
	};

	tdmc_mclk: tdmc_mclk {
		mux {
			groups = "mclk_a";
			function = "mclk_a";
		};
	};

	tdmout_c:tdmout_c {
		mux {
			groups = "tdmc_sclk",
				"tdmc_fs",
				"tdmc_dout0",
				"tdmc_dout1",
				"tdmc_dout2_a6";
			function = "tdmc_out";
		};
	};

	tdmin_c:tdmin_c {
		mux {
			groups = "tdmc_din1";
			function = "tdmc_in";
		};
	};

	spdifout: spidfout {
		mux {
			groups = "spdif_out_a1";
			function = "spdif_out";
		};
	};

	spdifin: spidfin {
		mux {
			groups = "spdif_in_z";
			function = "spdif_in";
		};
	};

	pdmin: pdmin {
		mux {
			groups = "pdm_dclk_a14",
				"pdm_din0",
				"pdm_din1",
				"pdm_din2",
				"pdm_din3";
			function = "pdm";
		};
	};

	bl_pwm_on_pins: bl_pwm_on_pin {
		mux {
			groups = "pwm_b_z";
			function = "pwm_b";
		};
	};

	led_pwm_pins: led_pwm_pins {
		mux {
			groups = "pwm_c_x10";
			function = "pwm_c";
		};
	};
}; /* end of pinctrl_periphs */
/* Audio Related End */

&aobus{
	uart_AO: serial@3000 {
		compatible = "amlogic, meson-uart";
		reg = <0x0 0x3000 0x0 0x18>;
		interrupts = <0 193 1>;
		status = "okay";
		clocks = <&xtal>;
		clock-names = "clk_uart";
		xtal_tick_en = <1>;
		fifosize = < 64 >;
		pinctrl-names = "default";
		pinctrl-0 = <&ao_uart_pins>;
		support-sysrq = <1>;	/* 0 not support , 1 support */
	};

	uart_AO_B: serial@4000 {
		compatible = "amlogic, meson-uart";
		reg = <0x0 0x4000 0x0 0x18>;
		interrupts = <0 197 1>;
		status = "okay";
		clocks = <&xtal>;
		clock-names = "clk_uart";
		fifosize = < 64 >;
		pinctrl-names = "default";
		pinctrl-0 = <>;
	};
};

&audio_data{
	status = "okay";
};

&drm_vpu {
	status = "okay";
};

&drm_lcd {
	status = "okay";
	ports {
		port {
			#address-cells = <1>;
			#size-cells = <0>;
			dsi_host: endpoint@2 {
			reg = <2>;
			remote-endpoint = <&adv7533_hdmi>;
		    };
		};
	};
};
